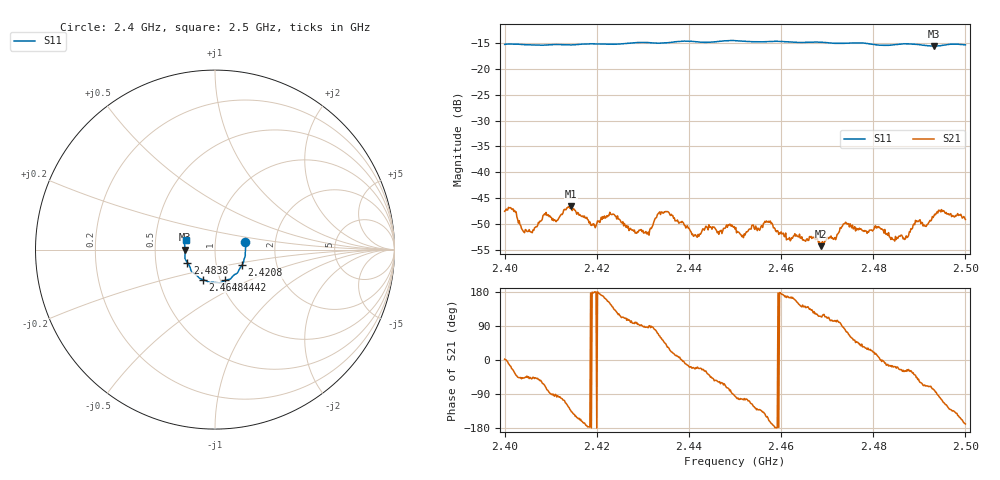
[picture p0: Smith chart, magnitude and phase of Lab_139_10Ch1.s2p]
# Hz S RI R 50
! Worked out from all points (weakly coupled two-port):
!   601 points, 2.4 GHz to 2.5 GHz, reference 50 ohm
!   highest |S21| = -46.49 dB at 2.4143 GHz (marker M1); lowest = -54.3 dB at 2.4687 GHz (marker M2)
!   lowest |S11| = -15.6 dB at 2.4932 GHz (marker M3), VSWR 1.40, Z = 35.8 - j0.0615 ohm
!   |S11| at or under -10 dB: start of sweep to end of sweep
!   S12 and S22 are empty: the file has one direction only
!   S11 on the Smith chart (normalised r, x): 2.4 GHz: 1.40, +0.12; 2.4208 GHz: 1.33, -0.24; 2.4442 GHz: 1.05, -0.37; 2.4648 GHz: 0.83, -0.29; 2.4838 GHz: 0.73, -0.11; 2.5 GHz: 0.72, +0.08
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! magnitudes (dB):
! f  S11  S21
! 2.4 GHz  -15.3  -47.5
! 2.4055 GHz  -15.4  -51.4
! 2.4088 GHz  -15.4  -48.2
! 2.4143 GHz  -15.4  -46.5
! 2.4167 GHz  -15.2  -48.5
! 2.4208 GHz  -15.2  -49.2
! 2.4233 GHz  -15.2  -48.2
! 2.4308 GHz  -14.9  -51.9
! 2.4333 GHz  -15.0  -48.0
! 2.4413 GHz  -14.7  -52.0
! 2.4442 GHz  -14.9  -51.1
! 2.45 GHz  -14.5  -51.0
! 2.4517 GHz  -14.6  -52.2
! 2.4572 GHz  -14.7  -49.6
! 2.4648 GHz  -14.9  -53.0
! 2.4667 GHz  -14.8  -52.8
! 2.4687 GHz  -14.8  -54.3
! 2.474 GHz  -15.1  -49.6
! 2.4833 GHz  -15.5  -51.6
! 2.4838 GHz  -15.4  -53.0
! 2.4932 GHz  -15.6  -48.4
! 2.5 GHz  -15.4  -49.1
